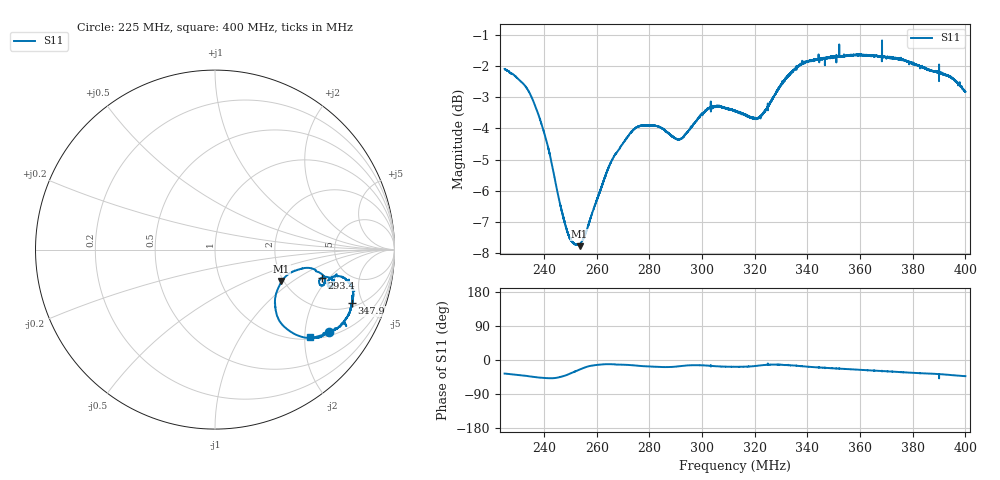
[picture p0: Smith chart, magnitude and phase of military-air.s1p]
! Calibrated averaged scanner-service zoom
# Hz S RI R 50
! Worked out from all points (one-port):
!   10001 points, 225 MHz to 400 MHz, reference 50 ohm
!   lowest |S11| = -7.8 dB at 253.5 MHz (marker M1), VSWR 2.38, Z = 97.2 - j40.9 ohm
!   |S11| at or under -10 dB: nowhere
!   S11 on the Smith chart (normalised r, x): 225 MHz: 1.12, -2.68; 293.4 MHz: 3.30, -1.67; 347.9 MHz: 2.28, -4.10; 400 MHz: 1.04, -2.13
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2.25e8  0.6371 -0.4598
2.319825e8  0.5651 -0.4856
2.372325e8  0.4722 -0.4823
2.42115e8  0.3839 -0.427
2.46875e8  0.3365 -0.318
2.500425e8  0.3416 -0.242
2.5349e8  0.3691 -0.1752
2.569025e8  0.4241 -0.1261
2.6112e8  0.4884 -0.1046
2.6875e8  0.5731 -0.1245
2.748225e8  0.6123 -0.1601
2.8359e8  0.6029 -0.1987
2.90625e8  0.5795 -0.1775
2.934425e8  0.5956 -0.1566
2.9759e8  0.6294 -0.1537
3.02455e8  0.6568 -0.1755
3.072325e8  0.6535 -0.2005
3.125e8  0.6408 -0.2065
3.172425e8  0.6302 -0.1975
3.2132e8  0.633 -0.1696
3.2713e8  0.6927 -0.1478
3.34375e8  0.754 -0.1942
3.38855e8  0.7684 -0.236
3.4785e8  0.762 -0.2972
3.5625e8  0.7518 -0.3409
3.78125e8  0.676 -0.441
3.9104e8  0.6122 -0.4724
4e8  0.531 -0.4893
